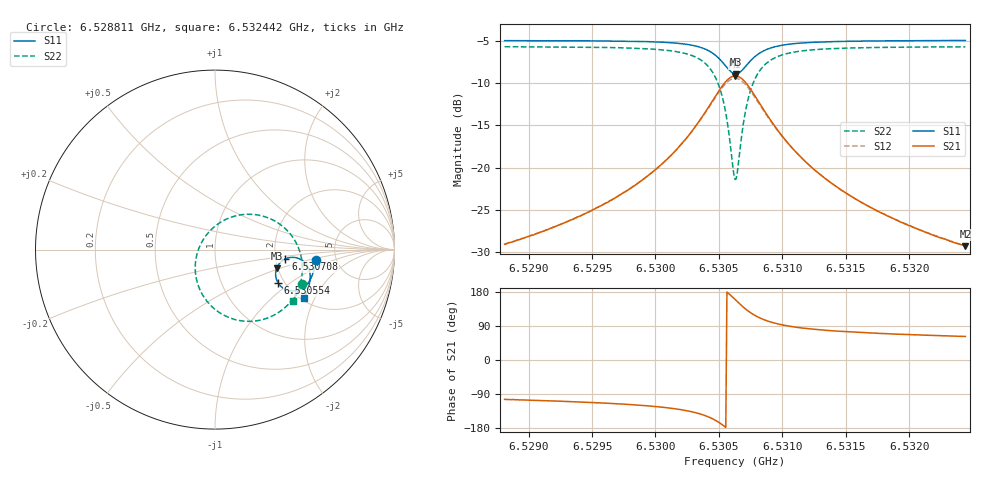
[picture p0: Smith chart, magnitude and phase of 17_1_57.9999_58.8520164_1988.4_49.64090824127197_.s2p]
#  HZ  S  RI  R  50.00
! Rohde & Schwarz Vector Network Analyzer
! Rohde-Schwarz,ZNB20-2Port,1311601062101988,3.16
! Created: UTC 3/21/2024, 12:51:01 AM
! freq[Hz]  re:S11  im:S11  re:S21  im:S21  re:S12  im:S12  re:S22  im:S22
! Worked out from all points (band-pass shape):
!   401 points, 6.528811 GHz to 6.532442 GHz, reference 50 ohm
!   highest |S21| = -9.13 dB at 6.530627 GHz (marker M1); lowest = -29.3 dB at 6.532442 GHz (marker M2)
!   |S21| within 3 dB of the highest: 6.530447 GHz to 6.53081 GHz (362.7 kHz wide, 0.00555 % of centre)
!   lowest |S11| = -8.9 dB at 6.530636 GHz (marker M3), VSWR 2.12, Z = 98.5 - j23.7 ohm
!   |S11| at or under -10 dB: nowhere
!   |S22| runs from -21.4 to -5.7 dB; largest |S21 - S12| = 0.015
!   S11 on the Smith chart (normalised r, x): 6.528811 GHz: 3.48, -0.60; 6.530554 GHz: 1.85, -0.82; 6.530708 GHz: 2.27, -0.28; 6.532442 GHz: 2.10, -1.66
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6.5288113e9  0.561 -0.0586  -0.00849 -0.0343  -0.00935 -0.0342  0.4825 -0.1921
6.5294194e9  0.5516 -0.1118  -0.0189 -0.0489  -0.0201 -0.0486  0.4496 -0.2537
6.5297371e9  0.5415 -0.1435  -0.0313 -0.063  -0.0328 -0.0623  0.4176 -0.2958
6.5300276e9  0.5239 -0.1784  -0.0563 -0.0844  -0.0587 -0.083  0.3608 -0.3458
6.5302454e9  0.4938 -0.2105  -0.1036 -0.1085  -0.1071 -0.1047  0.2653 -0.3897
6.5303997e9  0.4437 -0.2303  -0.1841 -0.1158  -0.1865 -0.1076  0.1182 -0.3914
6.5304905e9  0.3917 -0.2217  -0.2655 -0.0826  -0.2637 -0.0707  -0.0164 -0.3185
6.5305268e9  0.3681 -0.2058  -0.3008 -0.0482  -0.2956 -0.0357  -0.069 -0.2528
6.530554e9  0.3524 -0.187  -0.3228 -0.0113  -0.3146 0.0005  -0.0979 -0.1867
6.5306085e9  0.3378 -0.134  -0.3363 0.0859  -0.3232 0.0925  -0.1001 -0.0238
6.5306266e9  0.3404 -0.1144  -0.328 0.1204  -0.3142 0.1244  -0.0796 0.0307
6.5306357e9  0.3433 -0.1047  -0.3211 0.1367  -0.3074 0.1396  -0.0653 0.0562
6.5306538e9  0.352 -0.0872  -0.3031 0.1671  -0.2899 0.1674  -0.0301 0.1024
6.5307083e9  0.3928 -0.0513  -0.2264 0.2264  -0.2172 0.2224  0.107 0.1858
6.5307446e9  0.4232 -0.0433  -0.1726 0.2389  -0.1664 0.2342  0.1985 0.197
6.5307809e9  0.45 -0.0447  -0.1265 0.2362  -0.1223 0.232  0.2756 0.1838
6.5308989e9  0.5025 -0.0744  -0.0378 0.1911  -0.0362 0.1895  0.4194 0.0873
6.531026e9  0.5231 -0.1084  -0.00215 0.1451  -0.00112 0.1444  0.4709 -0.00585
6.5312347e9  0.5306 -0.149  0.0147 0.0989  0.0159 0.0987  0.487 -0.1019
6.5314889e9  0.5278 -0.1834  0.0187 0.0694  0.0197 0.0692  0.4804 -0.169
6.5318429e9  0.5181 -0.2193  0.0184 0.0479  0.0192 0.0477  0.4628 -0.2259
6.5324419e9  0.4979 -0.2682  0.0161 0.0304  0.0168 0.0302  0.4318 -0.2871
